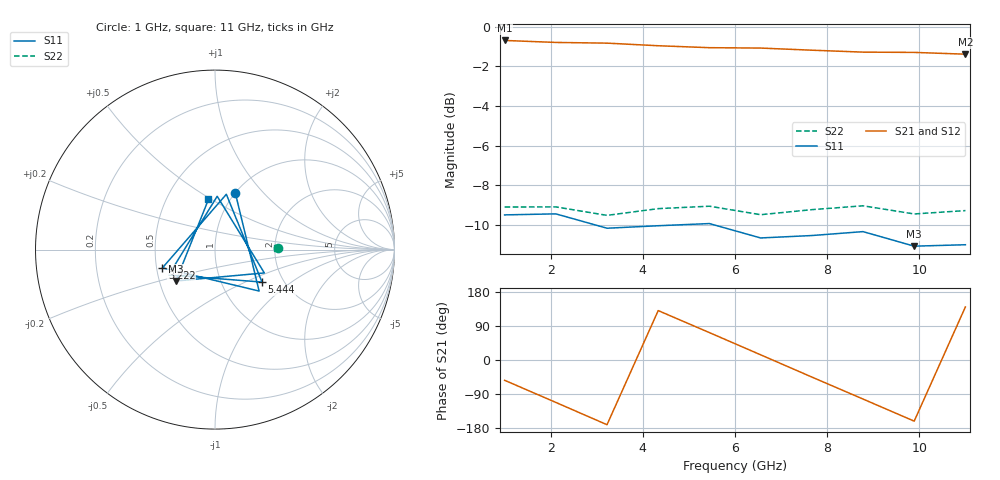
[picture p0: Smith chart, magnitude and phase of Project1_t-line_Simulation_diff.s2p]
# Hz S MA R 50
!Touchstone multiport model file <C:\Users\Yuriy\Documents\Simbeor THz Solutions\!Getting Started 2016\Project1\Results\Project1_t-line_Simulation_diff.s2p>
!Created on 04 May 18, at 06:53:51.
!Created with Simbeor THz 2017.02(64bit) of Simberian Inc. built on Dec 25 2017
!Output from MultiportParameters of Simbeor.
!Multiport parameters: DataOrigin=Simulation DataOriginName="Project1.t-line.Simulation(1)"
!LinearNetworkData: EMPTY;
!Uncomment the following lines with keywords in square brakets to support IBIS forum specification 2.0.
![Version] 2.0 !This line should be the first in file, preceeding the line starting with #.
![Number of Ports] 2
![Number of Frequencies] 10
![Two-Port Data Order] 21_12
![Reference] 50 50
!!!!Multiport descriptor profile: InputCount=2 TotalPortCount=2
!DescriptorOutline={DescriptorType=SMatrix InputSpace=Terminal NormalizationType=Generalized NormalizationCommonZo=50 ohm OutputFormat=MagnitudeAngle ListOfZo=(1:50)(2:25)}
!InputProfile={Name="Input1" IsTLineInput=True InputNumber=1 PortCount=1 FirstPortNumber=1 InputSpace=Terminal BlockType=SBlock NormalizationType=Generalized Zo=50}
!InputProfile={Name="Input2" IsTLineInput=True InputNumber=2 PortCount=1 FirstPortNumber=2 InputSpace=Terminal BlockType=SBlock NormalizationType=Generalized Zo=25}
!!!Global port number to input_name/local_port_number correspondence:
!Port 1 -> "Input1"/local_port_1 (terminal)
!Port 2 -> "Input2"/local_port_1 (terminal)
!!!!End of descriptor profile.
!Frequency Hz |S[1,1]| arg(S[1,1]) |S[2,1]| arg(S[2,1]) |S[1,2]| arg(S[1,2]) |S[2,2]| arg(S[2,2])
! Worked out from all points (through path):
!   10 points, 1 GHz to 11 GHz, reference 50 ohm
!   highest |S21| = -0.70 dB at 1 GHz (marker M1); lowest = -1.4 dB at 11 GHz (marker M2)
!   lowest |S11| = -11.1 dB at 9.889 GHz (marker M3), VSWR 1.78, Z = 30.4 - j11.6 ohm
!   |S11| at or under -10 dB: 2.965 GHz to 4.764 GHz (1.799 GHz wide, 46.5 % of centre); 5.547 GHz to end of sweep
!   |S22| runs from -9.5 to -9.0 dB; largest |S21 - S12| = 0
!   S11 on the Smith chart (normalised r, x): 1 GHz: 1.00, +0.71; 3.222 GHz: 0.54, -0.12; 5.444 GHz: 1.56, -0.63; 11 GHz: 0.80, +0.48
1e9  0.3351 70.3  0.9231 -53.5  0.9231 -53.5  0.3508 1.1
2.111111e9  0.3372 -43.2  0.9125 -111.9  0.9125 -111.9  0.3511 -1.8
3.222222e9  0.3102 -160.8  0.9088 -170.8  0.9088 -170.8  0.3342 -0.6
4.333333e9  0.3147 78.4  0.8952 130.4  0.8952 130.4  0.3476 1.4
5.444444e9  0.3187 -34.6  0.8852 72.3  0.8852 72.3  0.3525 -1.3
6.555556e9  0.2931 -151.4  0.8832 13.8  0.8832 13.8  0.3355 -0.8
7.666667e9  0.2973 87.7  0.8724 -45.0  0.8724 -45.0  0.3455 1.5
8.777778e9  0.3041 -25.3  0.8626 -103.0  0.8626 -103.0  0.3533 -0.9
9.888889e9  0.2795 -141.3  0.8612 -161.4  0.8612 -161.4  0.337 -1.0
1.1e10  0.2818 97.4  0.8524 140.0  0.8524 140.0  0.3436 1.5
